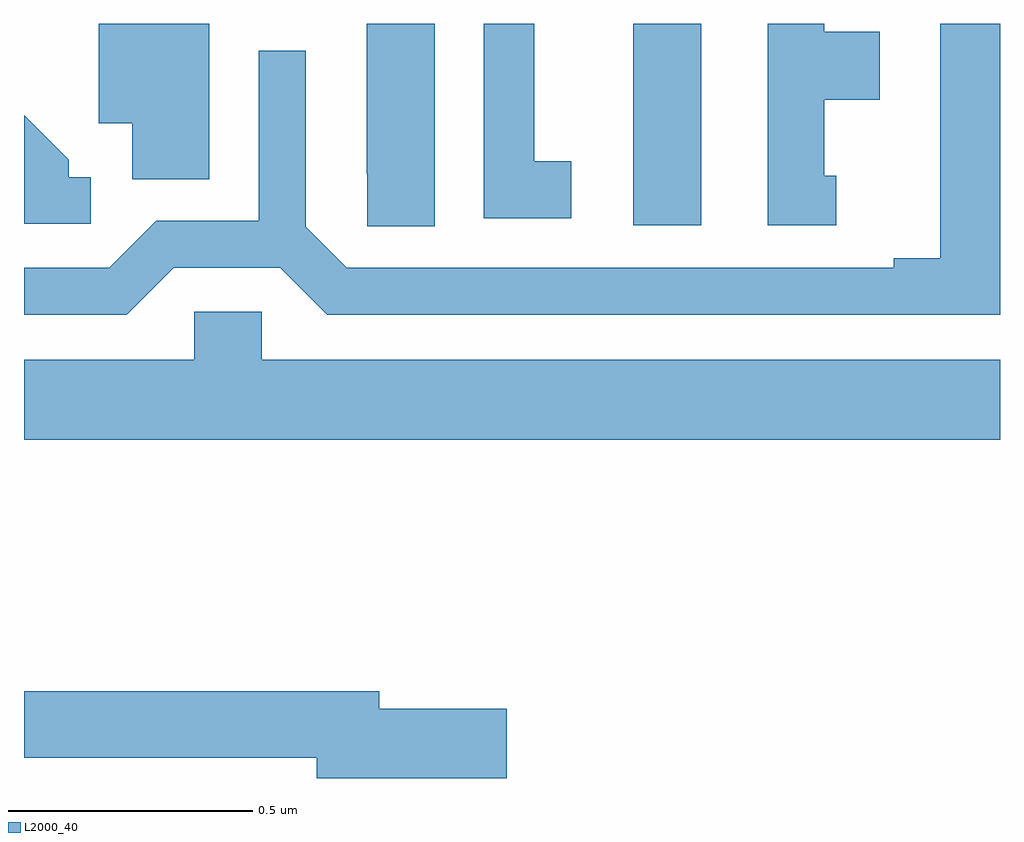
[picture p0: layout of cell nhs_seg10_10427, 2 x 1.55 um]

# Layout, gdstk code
import gdstk
lib = gdstk.Library(unit=1e-6, precision=1e-09)
def R(c, l, rs):  # rectangles x0, y0, x1, y1
    for r in rs: c.add(gdstk.rectangle(r[:2], r[2:], *l))
def P(c, l, *ps):  # polygons
    for p in ps: c.add(gdstk.Polygon(p, *l))
L2000_40 = (2000, 40)

nhs_seg10_10427 = lib.new_cell('nhs_seg10_10427')
R(nhs_seg10_10427, L2000_40, [(243.248,1302.087,243.388,1302.5)])
P(nhs_seg10_10427, L2000_40, [(242.38,1302.5),(242.153,1302.5),(242.153,1302.296),(242.222,1302.296),(242.222,1302.181),(242.38,1302.181)],
  [(242.842,1302.5),(242.702,1302.5),(242.702,1302.193),(242.703,1302.193),(242.703,1302.085),(242.842,1302.085)],
  [(242.307,1302),(242.525,1302),(242.621,1301.904),(244,1301.904),(244,1302.5),(243.878,1302.5),(243.878,1302.02),(243.782,1302.02),(243.782,1302),(242.661,1302),(242.577,1302.084),(242.577,1302.445),(242.481,1302.445),(242.481,1302.096),(242.271,1302.096),(242.175,1302),(242,1302),(242,1301.904),(242.211,1301.904)],
  [(243.121,1302.218),(243.046,1302.218),(243.046,1302.5),(242.942,1302.5),(242.942,1302.102),(243.121,1302.102)],
  [(243.664,1302.189),(243.64,1302.189),(243.64,1302.344),(243.754,1302.344),(243.754,1302.484),(243.64,1302.484),(243.64,1302.5),(243.524,1302.5),(243.524,1302.087),(243.664,1302.087)],
  [(242.137,1302.186),(242.092,1302.186),(242.092,1302.221),(242,1302.313),(242,1302.09),(242.137,1302.09)],
  [(244,1301.812),(242.487,1301.812),(242.487,1301.91),(242.349,1301.91),(242.349,1301.812),(242,1301.812),(242,1301.648),(244,1301.648)],
  [(242.989,1301.096),(242.728,1301.096),(242.728,1301.132),(242,1301.132),(242,1300.996),(242.6,1300.996),(242.6,1300.954),(242.989,1300.954)])

lib.write_gds('nhs_seg10_10427.gds')
